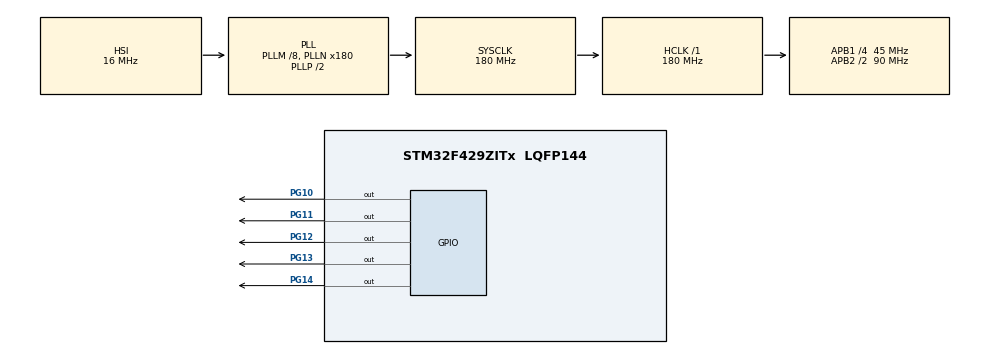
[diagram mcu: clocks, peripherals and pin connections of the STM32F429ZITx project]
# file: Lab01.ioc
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Mcu.Family=STM32F4
Mcu.Name=STM32F429ZITx
Mcu.Package=LQFP144
NVIC.PriorityGroup=NVIC_PRIORITYGROUP_4
PG10.Signal=GPIO_Output
PG11.Signal=GPIO_Output
PG12.Signal=GPIO_Output
PG13.Signal=GPIO_Output
PG14.Signal=GPIO_Output
ProjectManager.HeapSize=0x200
ProjectManager.StackSize=0x400
ProjectManager.TargetToolchain=STM32CubeIDE
RCC.48MHZClocksFreq_Value=90000000
RCC.AHBFreq_Value=180000000
RCC.APB1CLKDivider=RCC_HCLK_DIV4
RCC.APB1Freq_Value=45000000
RCC.APB1TimFreq_Value=90000000
RCC.APB2CLKDivider=RCC_HCLK_DIV2
RCC.APB2Freq_Value=90000000
RCC.APB2TimFreq_Value=180000000
RCC.CortexFreq_Value=180000000
RCC.HCLKFreq_Value=180000000
RCC.HSE_VALUE=25000000
RCC.HSI_VALUE=16000000
RCC.LSE_VALUE=32768
RCC.PLLM=8
RCC.PLLN=180
RCC.SYSCLKFreq_VALUE=180000000
RCC.SYSCLKSource=RCC_SYSCLKSOURCE_PLLCLK
RCC.VCOOutputFreq_Value=360000000
board=custom

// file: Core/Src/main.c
/* USER CODE BEGIN Header */
/**
  ******************************************************************************
  * @file           : main.c
  * @brief          : Main program body
  ******************************************************************************
  * @attention
  *
  * <h2><center>&copy; Copyright (c) 2021 STMicroelectronics.
  * All rights reserved.</center></h2>
  *
  * This software component is licensed by ST under BSD 3-Clause license,
  * the "License"; You may not use this file except in compliance with the
  * License. You may obtain a copy of the License at:
  *                        opensource.org/licenses/BSD-3-Clause
  *
  ******************************************************************************
  */
/* USER CODE END Header */
#include "main.h"
#include "gpio.h"

/* USER CODE BEGIN PV */
uint8_t num = 0;
uint8_t led13 = 0;
uint8_t led12 = 0;
uint8_t led11 = 0;
uint8_t led10 = 0;
/* USER CODE END PV */

void SystemClock_Config(void);

int main(void)
{

  /* MCU Configuration--------------------------------------------------------*/

  /* Reset of all peripherals, Initializes the Flash interface and the Systick. */
  HAL_Init();

  /* Configure the system clock */
  SystemClock_Config();

  /* Initialize all configured peripherals */
  MX_GPIO_Init();

  /* Infinite loop */
  while (1)
  {

    /* USER CODE BEGIN 3 */

	  //LED 2 3 4
	  //PG12 PG11 PG10
	  led12 = !(num & 4);
	  led11 = !(num & 2);
	  led10 = !(num & 1);
	  HAL_GPIO_WritePin(GPIOG, GPIO_PIN_12, led12);
	  HAL_GPIO_WritePin(GPIOG, GPIO_PIN_11, led11);
	  HAL_GPIO_WritePin(GPIOG, GPIO_PIN_10, led10);

	  HAL_Delay(300);
//	  //LED1 PG13 ON
//	  HAL_GPIO_WritePin(GPIOG, GPIO_PIN_13, GPIO_PIN_SET);
//	  led13	= 1;
//	  //Delay
//	  HAL_Delay(500);
//
//	  //LED1 PG13 PG14 OFF
//	  HAL_GPIO_WritePin(GPIOG, GPIO_PIN_13, GPIO_PIN_RESET);
//	  led13 = 0;
//	  //Delay
//	  HAL_Delay(500);

	  num++;
	  if(num > 7){
		  num = 0;
	  }

  }
  /* USER CODE END 3 */
}

void SystemClock_Config(void)
{
  RCC_OscInitTypeDef RCC_OscInitStruct = {0};
  RCC_ClkInitTypeDef RCC_ClkInitStruct = {0};

  /** Configure the main internal regulator output voltage
  */
  __HAL_RCC_PWR_CLK_ENABLE();
  __HAL_PWR_VOLTAGESCALING_CONFIG(PWR_REGULATOR_VOLTAGE_SCALE1);
  /** Initializes the RCC Oscillators according to the specified parameters
  * in the RCC_OscInitTypeDef structure.
  */
  RCC_OscInitStruct.OscillatorType = RCC_OSCILLATORTYPE_HSI;
  RCC_OscInitStruct.HSIState = RCC_HSI_ON;
  RCC_OscInitStruct.HSICalibrationValue = RCC_HSICALIBRATION_DEFAULT;
  RCC_OscInitStruct.PLL.PLLState = RCC_PLL_ON;
  RCC_OscInitStruct.PLL.PLLSource = RCC_PLLSOURCE_HSI;
  RCC_OscInitStruct.PLL.PLLM = 8;
  RCC_OscInitStruct.PLL.PLLN = 180;
  RCC_OscInitStruct.PLL.PLLP = RCC_PLLP_DIV2;
  RCC_OscInitStruct.PLL.PLLQ = 4;
  if (HAL_RCC_OscConfig(&RCC_OscInitStruct) != HAL_OK)
  {
    Error_Handler();
  }
  /** Activate the Over-Drive mode
  */
  if (HAL_PWREx_EnableOverDrive() != HAL_OK)
  {
    Error_Handler();
  }
  /** Initializes the CPU, AHB and APB buses clocks
  */
  RCC_ClkInitStruct.ClockType = RCC_CLOCKTYPE_HCLK|RCC_CLOCKTYPE_SYSCLK
                              |RCC_CLOCKTYPE_PCLK1|RCC_CLOCKTYPE_PCLK2;
  RCC_ClkInitStruct.SYSCLKSource = RCC_SYSCLKSOURCE_PLLCLK;
  RCC_ClkInitStruct.AHBCLKDivider = RCC_SYSCLK_DIV1;
  RCC_ClkInitStruct.APB1CLKDivider = RCC_HCLK_DIV4;
  RCC_ClkInitStruct.APB2CLKDivider = RCC_HCLK_DIV2;

  if (HAL_RCC_ClockConfig(&RCC_ClkInitStruct, FLASH_LATENCY_5) != HAL_OK)
  {
    Error_Handler();
  }
}

void Error_Handler(void)
{
  __disable_irq();
  while (1)
  {
  }
}

/************************ (C) COPYRIGHT STMicroelectronics *****END OF FILE****/
